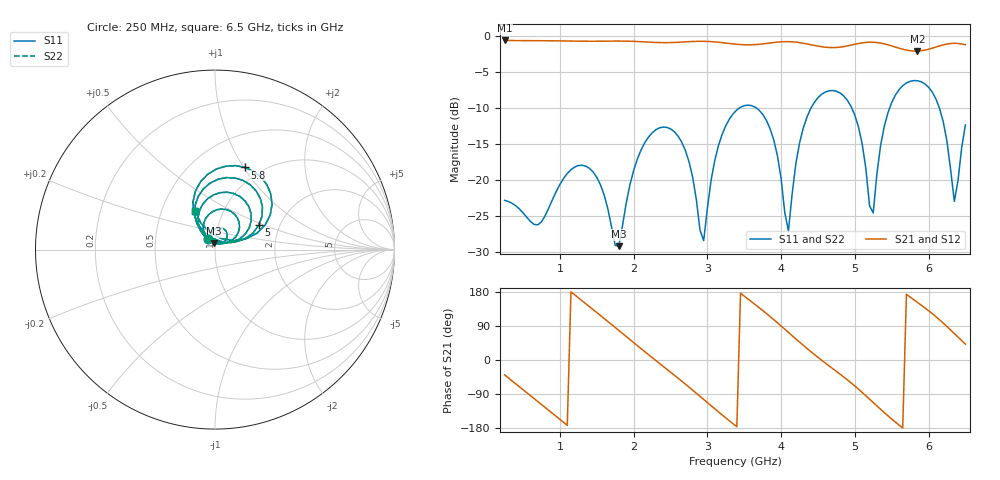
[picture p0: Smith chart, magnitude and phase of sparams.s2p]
! NobuRF kit-fr4-50-line48: ports 1 "p1", 2 "p2"; 7300 + 7300 steps
# GHz S RI R 50
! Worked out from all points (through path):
!   126 points, 250 MHz to 6.5 GHz, reference 50 ohm
!   highest |S21| = -0.68 dB at 250 MHz (marker M1); lowest = -2.1 dB at 5.85 GHz (marker M2)
!   group delay of S21, straight-line fit = 442 ps
!   lowest |S11| = -29.2 dB at 1.8 GHz (marker M3), VSWR 1.07, Z = 49.4 + j3.4 ohm
!   |S11| at or under -10 dB: start of sweep to 3.442 GHz; 3.658 GHz to 4.409 GHz (750.6 MHz wide, 18.6 % of centre); 4.956 GHz to 5.475 GHz (518.5 MHz wide, 9.94 % of centre)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
!   |S22| runs from -29.2 to -6.2 dB; largest |S21 - S12| = 3.3e-07
!   S11 on the Smith chart (normalised r, x): 250 MHz: 0.92, +0.11; 5 GHz: 1.56, +0.47; 5.8 GHz: 0.84, +1.01; 6.5 GHz: 0.74, +0.33
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0.25  -0.0407 0.0594  0.7164 -0.5855  0.7164 -0.5855  -0.0407 0.0594
0.7  -0.00484 0.0485  -0.3096 -0.868  -0.3096 -0.868  -0.00484 0.0484
1  -0.02 0.0906  -0.8434 -0.364  -0.8434 -0.364  -0.02 0.0906
1.3  0.0416 0.1191  -0.838 0.3658  -0.838 0.3658  0.0416 0.1191
1.8  -0.00439 0.0344  0.1929 0.8956  0.1929 0.8956  -0.00439 0.0344
2.05  -0.0659 0.1224  0.7163 0.5603  0.7163 0.5603  -0.0659 0.1224
2.35  0.0363 0.2261  0.8839 -0.1385  0.8839 -0.1385  0.0363 0.2261
2.7  0.1296 0.0948  0.405 -0.8085  0.405 -0.8085  0.1296 0.0948
2.95  -0.00252 0.0377  -0.2209 -0.8854  -0.2209 -0.8854  -0.00252 0.0377
3.15  -0.0928 0.1448  -0.6548 -0.6162  -0.6548 -0.6162  -0.0928 0.1448
3.4  -0.00765 0.3051  -0.8683 -0.0588  -0.8683 -0.0588  -0.00765 0.3051
3.85  0.191 0.1221  -0.3719 0.8072  -0.3719 0.8072  0.191 0.1221
4.1  0.000817 0.0442  0.268 0.8675  0.268 0.8675  0.000816 0.0442
4.45  -0.0655 0.3376  0.8266 0.2182  0.8266 0.2182  -0.0655 0.3376
5  0.2447 0.1372  0.3174 -0.8107  0.3174 -0.8107  0.2447 0.1372
5.25  -0.00648 0.0585  -0.3403 -0.8325  -0.3403 -0.8325  -0.00648 0.0585
5.5  -0.1095 0.3249  -0.773 -0.3486  -0.773 -0.3486  -0.1095 0.3249
5.8  0.167 0.4579  -0.7295 0.2794  -0.7295 0.2794  0.167 0.4579
5.85  0.2148 0.4363  -0.6894 0.3667  -0.6894 0.3667  0.2148 0.4363
6.15  0.2798 0.1379  -0.234 0.8157  -0.234 0.8157  0.2798 0.1379
6.35  0.0359 0.0611  0.306 0.8296  0.306 0.8296  0.0359 0.0611
6.5  -0.1101 0.2134  0.6433 0.5756  0.6433 0.5756  -0.1101 0.2134
